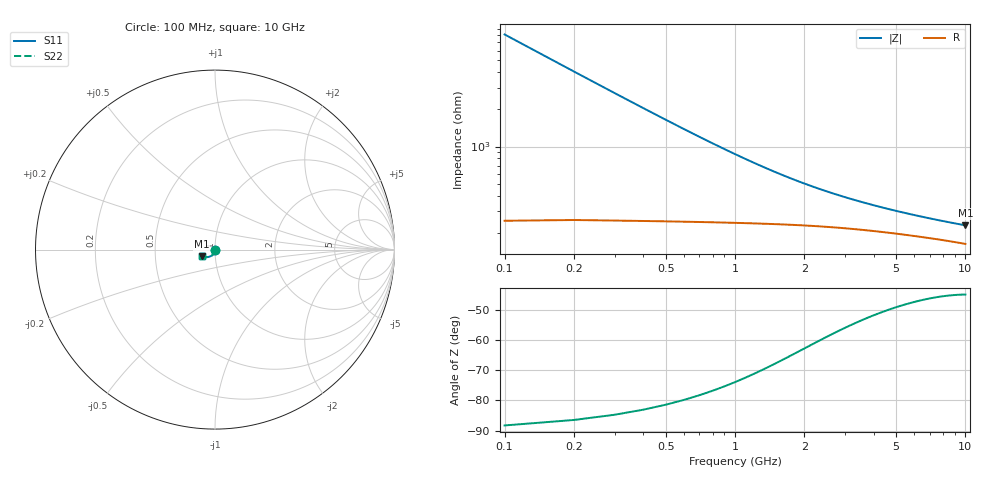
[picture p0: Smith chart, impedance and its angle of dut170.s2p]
! Touchstone file exported from HFSS 2024.1.0
!  File:  C:/UserFiles/LocalFiles/RDL_TSV_Batchsim/temp_TSV1_170_1778766393.aedt
!  Generated:  09:52:34 PM May 14, 2026
!  Design:  TSV1
!  Project:  temp_TSV1_170_1778766393
!  Setup:  Setup1
!  Solution:  Sweep
! Variables:
!  dtsv = 20.08um
!  hbump = 3um
!  htsv = 80.88um
!  lrdl = 252.1521522um
!  p = 40
!  p1 = 56.69um
!  t = 500um
!  trdl = 3um
!  wrdl = 24.89489489um
# GHz S MA R 50.000000
! Terminal data exported
! Port[1] = TSV22_T1
! Port[2] = TSV22_T2
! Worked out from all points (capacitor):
!   100 points, 100 MHz to 10 GHz, reference 50 ohm
!   read as one part in shunt: C = 196 fF near 100 MHz
!   lowest |Z| = 229 ohm at 10 GHz (marker M1)
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0.1  0.002731 -90.6  0.9998 -0.2  0.9998 -0.2  0.002731 -90.6
! Gamma 0 0 0 0
! Port Impedance 50 0 50 0
0.2  0.005471 -93.5  0.9995 -0.4  0.9995 -0.4  0.005471 -93.5
0.3  0.008185 -95.7  0.999 -0.6  0.999 -0.6  0.008185 -95.7
0.4  0.01086 -97.8  0.9983 -0.8  0.9983 -0.8  0.01086 -97.8
0.5  0.01348 -99.8  0.9975 -0.9  0.9975 -0.9  0.01348 -99.8
0.6  0.01605 -101.8  0.9965 -1.1  0.9965 -1.1  0.01605 -101.8
0.7  0.01854 -103.7  0.9954 -1.3  0.9954 -1.3  0.01854 -103.7
0.8  0.02096 -105.6  0.9942 -1.5  0.9942 -1.5  0.02096 -105.6
0.9  0.0233 -107.4  0.9929 -1.6  0.9929 -1.6  0.0233 -107.4
1.1  0.02772 -110.8  0.9901 -1.9  0.9901 -1.9  0.02772 -110.8
1.4  0.0337 -115.4  0.9856 -2.3  0.9856 -2.3  0.0337 -115.4
1.6  0.03727 -118.2  0.9826 -2.5  0.9826 -2.5  0.03727 -118.2
1.8  0.04051 -120.7  0.9796 -2.7  0.9796 -2.7  0.04051 -120.7
2.1  0.04485 -124.1  0.9752 -2.9  0.9752 -2.9  0.04485 -124.1
2.5  0.04979 -128.0  0.9699 -3.2  0.9699 -3.2  0.04979 -128.0
2.9  0.05396 -131.2  0.965 -3.4  0.965 -3.4  0.05396 -131.2
3.4  0.05835 -134.6  0.9597 -3.7  0.9597 -3.7  0.05835 -134.6
4.2  0.06401 -138.9  0.9527 -4.0  0.9527 -4.0  0.06401 -138.9
5.1  0.06901 -142.5  0.9462 -4.3  0.9462 -4.3  0.069 -142.5
6.7  0.07555 -147.3  0.9376 -4.8  0.9376 -4.8  0.07555 -147.3
8.4  0.08042 -150.8  0.9311 -5.4  0.9311 -5.4  0.08042 -150.8
10  0.08379 -153.3  0.9266 -5.9  0.9266 -5.9  0.08379 -153.3
